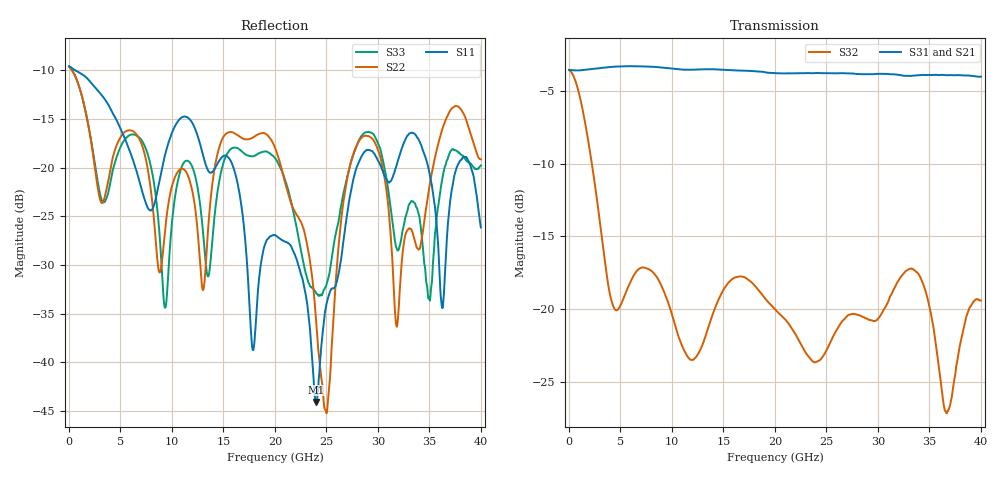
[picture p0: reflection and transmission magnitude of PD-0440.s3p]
! MARKI MICROWAVE INC.
! Email:  info@markimicrowave.com  Phone:  408-778-4200
! Model Number:  PD0440  Date:  05/15
! Filename:		PD-0440.S3P  Version: 1.0
! Description:  3-port S-parameter data for Power Divider PD-0440
! Measured Frequency: 	10 MHz to 40 GHz
! Port Configuration:	PORT 1: COMMON, PORT 2 and Port 3: Output
! S3P File: Measurements: Mag<S11> Ang<S11> Mag<S12> Ang<S12> Mag<S13> Ang<S13>! row 1
!  Mag<S21> Ang<S21> Mag<S22> Ang<S22> Mag<S23> Ang<S23>! row 2
!  Mag<S31> Ang<S31> Mag<S32> Ang<S32> Mag<S33> Ang<S33>! row 3
# Hz S  dB  R 50
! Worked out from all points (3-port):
!   801 points, 10 MHz to 40 GHz, reference 50 ohm
!   strongest paths, dB at 10 MHz, 10.01 GHz, 20 GHz, 30 GHz, 40 GHz:
!     S31: -3.6, -3.5, -3.8, -3.8, -4.0
!     S21: -3.6, -3.5, -3.8, -4.0, -4.3
!     S32: -3.6, -20.4, -20.0, -20.6, -19.4
!   lowest |S11| = -44.1 dB at 23.95 GHz (marker M1), VSWR 1.01, Z = 49.4 - j0.229 ohm
!   |S11| at or under -10 dB: 562.9 MHz to end of sweep
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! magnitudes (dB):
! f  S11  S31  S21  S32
! 10 MHz  -9.6  -3.6  -3.6  -3.6
! 9.308 GHz  -18.8  -3.4  -3.4  -18.9
! 15.76 GHz  -19.4  -3.6  -3.7  -18.0
! 17.86 GHz  -38.7  -3.6  -3.7  -18.2
! 20 GHz  -26.9  -3.8  -3.8  -20.0
! 23.95 GHz  -44.1  -3.8  -3.9  -23.6
! 25 GHz  -34.0  -3.8  -3.9  -22.8
! 28.75 GHz  -18.3  -3.9  -4.0  -20.6
! 31.85 GHz  -19.6  -3.9  -4.0  -18.2
! 40 GHz  -26.1  -4.0  -4.3  -19.4
